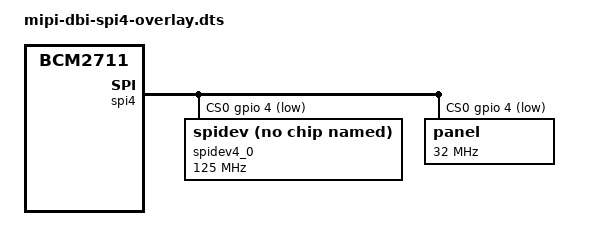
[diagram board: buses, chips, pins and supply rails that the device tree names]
/*
 * mipi-dbi-spi4-overlay.dts
 */

#include <dt-bindings/gpio/gpio.h>

/dts-v1/;
/plugin/;

/ {
	compatible = "brcm,bcm2711";

	fragment@0 {
		target = <&spi4_cs_pins>;
		frag0: __overlay__ {
			brcm,pins = <4>;
			brcm,function = <1>; /* output */
		};
	};

	fragment@1 {
		target = <&spi4>;
		frag1: __overlay__ {
			/* needed to avoid dtc warning */
			#address-cells = <1>;
			#size-cells = <0>;

			cs-gpios = <&gpio 4 1>;
			status = "okay";

			spidev4_0: spidev@0 {
				compatible = "spidev";
				reg = <0>;      /* CE0 */
				#address-cells = <1>;
				#size-cells = <0>;
				spi-max-frequency = <125000000>;
				status = "okay";
			};
		};
	};

	panel_fragment: fragment@10 {
		target = <&spi4>;
		__overlay__ {
			/* needed to avoid dtc warning */
			#address-cells = <1>;
			#size-cells = <0>;

			status = "okay";

			panel: panel@0 {
				compatible = "panel", "panel-mipi-dbi-spi";
				reg = <0>;
				spi-max-frequency = <32000000>;

				width-mm = <0>;
				height-mm = <0>;

				timing: panel-timing {
					hactive = <320>;
					vactive = <240>;
					hback-porch = <0>;
					vback-porch = <0>;

					clock-frequency = <0>;
					hfront-porch = <0>;
					hsync-len = <0>;
					vfront-porch = <0>;
					vsync-len = <0>;
				};
			};
		};
	};

	fragment@11 {
		target = <&panel>;
		__dormant__  {
			backlight = <&backlight_gpio>;
		};
	};

	fragment@12 {
		target-path = "/";
		__dormant__  {
			backlight_gpio: backlight_gpio {
				compatible = "gpio-backlight";
				gpios = <&gpio 255 GPIO_ACTIVE_HIGH>;
			};
		};
	};

	fragment@20 {
		target = <&panel>;
		__dormant__  {
			backlight = <&backlight_pwm>;
		};
	};

	fragment@21 {
		target-path = "/";
		__dormant__  {
			backlight_pwm: backlight_pwm {
				compatible = "pwm-backlight";
				brightness-levels = <0 6 8 12 16 24 32 40 48 64 96 128 160 192 224 255>;
				default-brightness-level = <15>;
				pwms = <&pwm 0 200000>;
			};
		};
	};

	fragment@22 {
		target = <&pwm>;
		__dormant__ {
			pinctrl-names = "default";
			pinctrl-0 = <&pwm_pins>;
			assigned-clock-rates = <1000000>;
			status = "okay";
		};
	};

	fragment@23 {
		target = <&gpio>;
		__dormant__ {
			pwm_pins: pwm_pins {
				brcm,pins = <18>;
				brcm,function = <2>; /* Alt5 */
			};
		};
	};


	__overrides__ {
		compatible    = <&panel>, "compatible";

		cs4_pin  	  = <&frag0>,"brcm,pins:0",
						<&frag1>,"cs-gpios:4";
		cs4_spidev 	  = <&spidev4_0>,"status";

		speed         = <&panel>, "spi-max-frequency:0";
		cpha          = <&panel>, "spi-cpha?";
		cpol          = <&panel>, "spi-cpol?";

		write-only    = <&panel>, "write-only?";

		width         = <&timing>, "hactive:0";
		height        = <&timing>, "vactive:0";
		x-offset      = <&timing>, "hback-porch:0";
		y-offset      = <&timing>, "vback-porch:0";
		clock-frequency = <&timing>, "clock-frequency:0";

		width-mm      = <&panel>, "width-mm:0";
		height-mm     = <&panel>, "height-mm:0";

		/* optional gpios */
		reset-gpio    = <&panel>, "reset-gpios:0=", <&gpio>,
				<&panel>, "reset-gpios:4",
				<&panel>, "reset-gpios:8=0"; /* GPIO_ACTIVE_HIGH */
		dc-gpio       = <&panel>, "dc-gpios:0=", <&gpio>,
				<&panel>, "dc-gpios:4",
				<&panel>, "dc-gpios:8=0"; /* GPIO_ACTIVE_HIGH */

		backlight-gpio        = <0>, "+11+12",
					<&backlight_gpio>, "gpios:4";
		backlight-pwm         = <0>, "+20+21+22+23+24";
		backlight-pwm-chan    = <&backlight_pwm>, "pwms:4";
		backlight-pwm-gpio    = <&pwm_pins>, "brcm,pins:0";
		backlight-pwm-func    = <&pwm_pins>, "brcm,function:0";
		backlight-def-brightness = <&backlight_pwm>, "default-brightness-level:0";
	};
};
